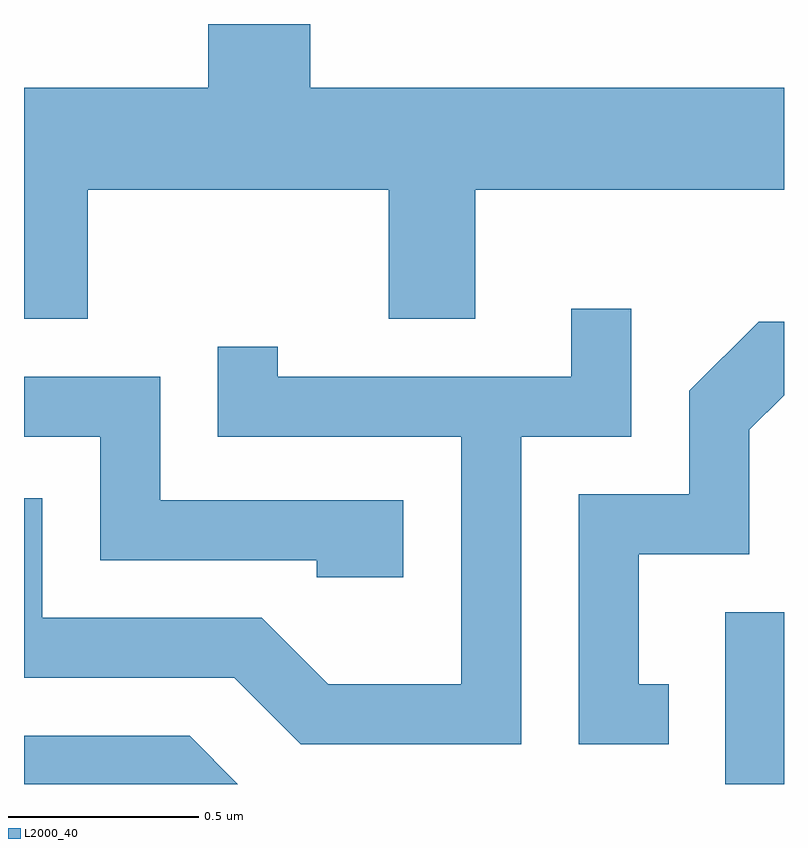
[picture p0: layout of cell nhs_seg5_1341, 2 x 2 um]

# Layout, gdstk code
import gdstk
lib = gdstk.Library(unit=1e-6, precision=1e-09)
def R(c, l, rs):  # rectangles x0, y0, x1, y1
    for r in rs: c.add(gdstk.rectangle(r[:2], r[2:], *l))
def P(c, l, *ps):  # polygons
    for p in ps: c.add(gdstk.Polygon(p, *l))
L2000_40 = (2000, 40)

nhs_seg5_1341 = lib.new_cell('nhs_seg5_1341')
R(nhs_seg5_1341, L2000_40, [(196.456,1504.072,196.611,1504.524)])
P(nhs_seg5_1341, L2000_40, [(194.779,1505.636),(195.571,1505.636),(195.571,1505.296),(195.799,1505.296),(195.799,1505.636),(196.611,1505.636),(196.611,1505.904),(195.364,1505.904),(195.364,1506.072),(195.096,1506.072),(195.096,1505.904),(194.611,1505.904),(194.611,1505.296),(194.779,1505.296)],
  [(195.919,1504.986),(196.209,1504.986),(196.209,1505.323),(196.051,1505.323),(196.051,1505.144),(195.279,1505.144),(195.279,1505.223),(195.121,1505.223),(195.121,1504.986),(195.761,1504.986),(195.761,1504.334),(195.412,1504.334),(195.237,1504.509),(194.659,1504.509),(194.659,1504.824),(194.611,1504.824),(194.611,1504.351),(195.164,1504.351),(195.339,1504.176),(195.919,1504.176)],
  [(196.308,1504.334),(196.229,1504.334),(196.229,1504.676),(196.519,1504.676),(196.519,1505.004),(196.611,1505.095),(196.611,1505.289),(196.544,1505.289),(196.361,1505.107),(196.361,1504.834),(196.071,1504.834),(196.071,1504.176),(196.308,1504.176)],
  [(195.609,1504.819),(194.969,1504.819),(194.969,1505.144),(194.611,1505.144),(194.611,1504.986),(194.811,1504.986),(194.811,1504.661),(195.381,1504.661),(195.381,1504.616),(195.609,1504.616)],
  [(195.047,1504.199),(194.611,1504.199),(194.611,1504.072),(195.174,1504.072)])

lib.write_gds('nhs_seg5_1341.gds')
